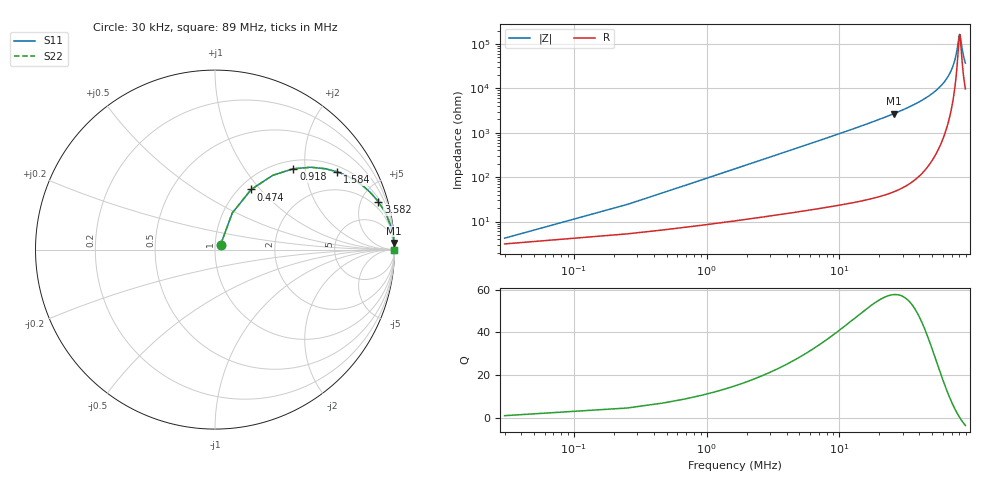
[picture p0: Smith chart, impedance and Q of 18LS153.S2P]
! Coilcraft 1812LS-153 Chip Inductor
! 8 August 2002
# MHZ S MA R 50
!Freq  MagS11  AngS11  MagS21  AngS21  MagS12  AngS12  MagS22  AngS22
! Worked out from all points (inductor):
!   402 points, 30 kHz to 89 MHz, reference 50 ohm
!   read as one part in series: L = 15 uH near 474 kHz
!   highest Q = 57.7 at 25.78 MHz (marker M1), where L = 16.7 uH
!   self-resonance near 80.62 MHz
!   S11 on the Smith chart (normalised r, x): 30 kHz: 1.06, +0.06; 474 kHz: 1.13, +0.89; 918 kHz: 1.17, +1.73; 1.584 MHz: 1.20, +2.99; 3.582 MHz: 1.29, +6.77; 89 MHz: open
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0.03  0.04089 40.5  0.9693 -1.6  0.9693 -1.6  0.04089 40.5
0.474  0.3909 59.0  0.8659 -22.8  0.8659 -22.8  0.3909 59.0
0.696  0.5244 52.1  0.7943 -31.4  0.7943 -31.4  0.5244 52.1
0.918  0.6272 45.9  0.7215 -38.6  0.7215 -38.6  0.6272 45.9
1.584  0.8065 32.5  0.5387 -53.6  0.5387 -53.6  0.8065 32.5
2.472  0.9022 22.7  0.3864 -64.3  0.3864 -64.3  0.9022 22.7
3.582  0.9481 16.2  0.28 -71.3  0.28 -71.3  0.9481 16.2
5.58  0.9767 10.6  0.1847 -77.5  0.1847 -77.5  0.9767 10.6
8.022  0.9881 7.4  0.1293 -81.0  0.1293 -81.0  0.9881 7.4
14.904  0.9963 3.9  0.06849 -84.9  0.06849 -84.9  0.9963 3.9
25.782  0.9987 2.1  0.03689 -86.9  0.03689 -86.9  0.9987 2.1
29.778  0.999 1.8  0.03074 -87.2  0.03074 -87.2  0.999 1.8
44.652  0.9995 0.9  0.01646 -87.6  0.01646 -87.6  0.9995 0.9
59.526  0.9995 0.5  0.008115 -86.4  0.008115 -86.4  0.9995 0.5
68.184  0.9995 0.3  0.004458 -83.4  0.004458 -83.4  0.9995 0.3
74.178  0.9995 0.1  0.002265 -76.0  0.002265 -76.0  0.9995 0.1
76.842  0.9994 0.1  0.001391 -65.8  0.001391 -65.8  0.9994 0.1
79.728  0.9994 0.0  0.0006692 -26.7  0.0006692 -26.7  0.9994 0.0
80.616  0.9994 0.0  0.000607 -1.0  0.000607 -1.0  0.9994 0.0
81.504  0.9994 -0.0  0.0006758 24.2  0.0006758 24.2  0.9994 -0.0
85.5  0.9993 -0.1  0.001671 66.6  0.001671 66.6  0.9993 -0.1
89  0.9993 -0.1  0.002684 74.7  0.002684 74.7  0.9993 -0.1
